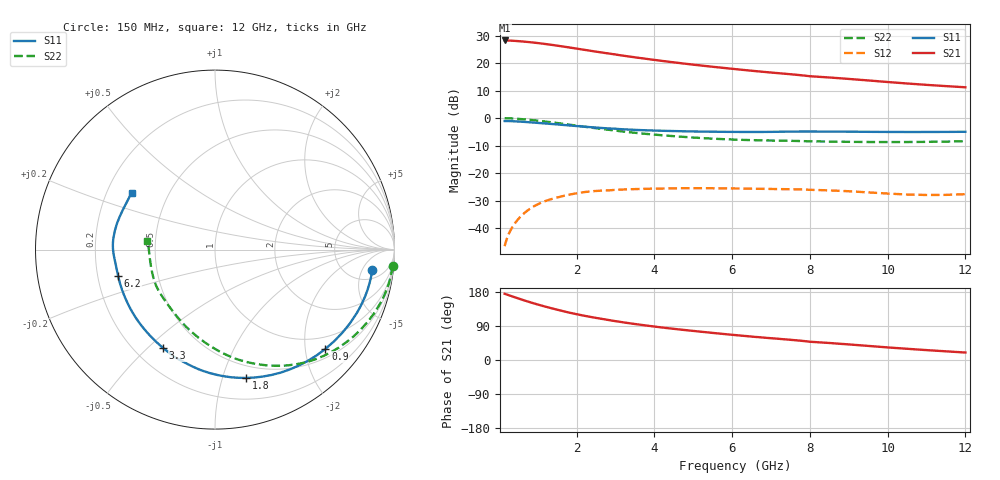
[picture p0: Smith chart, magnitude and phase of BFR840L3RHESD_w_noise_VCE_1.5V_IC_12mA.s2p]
! Infineon Technologies  Discrete & RF Semiconductors
! BFR840L3RHESD
! VCE =  1.5 V,  IC =  12 mA
! Common Emitter S-Parameters:  Jun 2012
# GHz  S  MA  R  50
!  f  S11  S21  S12  S22
! GHz  MAG  ANG  MAG  ANG  MAG  ANG  MAG  ANG
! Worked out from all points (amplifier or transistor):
!   91 points, 150 MHz to 12 GHz, reference 50 ohm
!   highest |S21| = 28.2 dB at 150 MHz (marker M1)
!   |S21| within 3 dB of that: start of sweep to 2.02 GHz
!   unconditionally stable (mu >= 1): 8.079 GHz to end of sweep
!   at 1.3 GHz: K = 0.14, MSG = 28.2 dB, |S12| = -29.7 dB
!   at 4.3 GHz: K = 0.46, MSG = 23.1 dB, |S12| = -25.6 dB
!   at 12 GHz: K = 2.01, MAG = 13.7 dB, |S12| = -27.7 dB
!   lowest NFmin = 0.78 dB at 450 MHz
!   S11 on the Smith chart (normalised r, x): 150 MHz: 8, -8; 900 MHz: 0.69, -2.43; 1.8 GHz: 0.38, -1.19; 3.3 GHz: 0.31, -0.56; 6.2 GHz: 0.29, -0.12; 12 GHz: 0.30, +0.28
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0.15  0.8836 -7.5  25.71 174.7  0.0047 85.0  0.9934 -5.4
0.3  0.8789 -14.8  25.5 169.5  0.0091 87.0  0.986 -11.3
0.5  0.8653 -24.2  24.98 162.5  0.0146 77.2  0.9666 -18.5
0.7  0.8472 -33.2  24.31 155.8  0.0199 69.1  0.9407 -25.4
0.9  0.8273 -42.0  23.51 149.5  0.0249 63.4  0.9114 -32.0
1.1  0.807 -50.3  22.62 143.6  0.0292 59.0  0.88 -38.3
1.3  0.7866 -58.2  21.68 138.1  0.0328 55.1  0.8472 -44.3
1.5  0.766 -65.8  20.7 132.8  0.036 51.4  0.8132 -50.0
1.8  0.7353 -76.5  19.24 125.4  0.0403 46.3  0.7615 -57.9
2.2  0.6973 -89.4  17.38 116.8  0.0451 40.6  0.696 -67.4
2.5  0.6721 -98.0  16.11 111.1  0.0473 36.7  0.6529 -73.9
2.8  0.6498 -105.6  14.98 105.9  0.0485 33.1  0.6153 -79.8
3.3  0.6198 -117.7  13.29 97.9  0.0506 28.2  0.5588 -89.0
3.7  0.6024 -126.1  12.16 92.2  0.0516 25.2  0.5229 -95.7
4.2  0.5874 -135.4  10.93 85.8  0.0524 22.4  0.4869 -103.4
5.2  0.5681 -151.7  9.017 74.6  0.0531 17.5  0.4341 -117.8
6.1  0.5599 -163.7  7.729 65.6  0.0525 14.3  0.4052 -129.7
6.2  0.5593 -164.9  7.603 64.6  0.0524 14.0  0.403 -131.0
8  0.5698 173.9  5.757 48.2  0.0497 9.3  0.3781 -154.8
8.5  0.5681 169.7  5.461 44.9  0.0485 8.6  0.3735 -159.2
10.5  0.558 153.7  4.248 29.6  0.0408 13.6  0.367 -177.5
12  0.5629 145.6  3.625 19.7  0.0414 24.7  0.3801 172.8
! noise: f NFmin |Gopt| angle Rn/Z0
0.45  0.78  0.25  6  0.16
0.9  0.81  0.25  11  0.16
1.9  0.84  0.27  32  0.15
3.5  0.84  0.27  53  0.14
4  0.86  0.27  62  0.13
5.5  0.88  0.28  77  0.13
7  0.94  0.28  96  0.12
8  1  0.27  107  0.11
10  1.1  0.25  127  0.11
12  1.22  0.25  164  0.11
